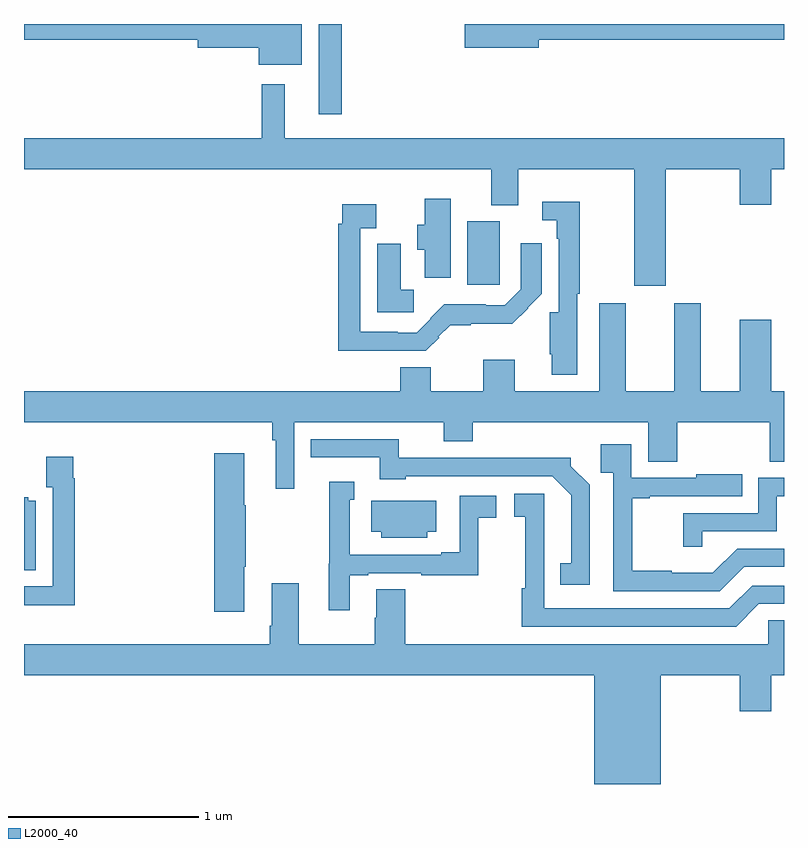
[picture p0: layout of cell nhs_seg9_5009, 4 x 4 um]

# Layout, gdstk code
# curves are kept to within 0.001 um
import gdstk
lib = gdstk.Library(unit=1e-6, precision=1e-09)
def R(c, l, rs):  # rectangles x0, y0, x1, y1
    for r in rs: c.add(gdstk.rectangle(r[:2], r[2:], *l))
def P(c, l, *ps):  # polygons
    for p in ps: c.add(gdstk.Polygon(p, *l))
L2000_40 = (2000, 40)

nhs_seg9_5009 = lib.new_cell('nhs_seg9_5009')
R(nhs_seg9_5009, L2000_40, [(403.334,1213.128,403.504,1213.462), (402.551,1214.025,402.673,1214.5)])
P(nhs_seg9_5009, L2000_40, [(403.708,1214.416),(405,1214.416),(405,1214.5),(403.32,1214.5),(403.32,1214.374),(403.708,1214.374)],
  [(402.463,1214.5),(401,1214.5),(401,1214.416),(401.915,1214.416),(401.915,1214.374),(402.236,1214.374),(402.236,1214.285),(402.463,1214.285)],
  [(404.377,1213.736),(404.768,1213.736),(404.768,1213.548),(404.932,1213.548),(404.932,1213.736),(405,1213.736),(405,1213.9),(402.373,1213.9),(402.373,1214.182),(402.252,1214.182),(402.252,1213.9),(401,1213.9),(401,1213.736),(403.46,1213.736),(403.46,1213.547),(403.6,1213.547),(403.6,1213.736),(404.213,1213.736),(404.213,1213.122),(404.377,1213.122)],
  [(403.246,1213.579),(403.109,1213.579),(403.109,1213.443),(403.07,1213.443),(403.07,1213.313),(403.109,1213.313),(403.109,1213.164),(403.246,1213.164)],
  [(403.912,1213.081),(403.924,1213.081),(403.924,1213.564),(403.728,1213.564),(403.728,1213.467),(403.803,1213.467),(403.803,1213.37),(403.815,1213.37),(403.815,1212.984),(403.766,1212.984),(403.766,1212.763),(403.778,1212.763),(403.778,1212.653),(403.912,1212.653)],
  [(403.185,1212.849),(403.181,1212.853),(403.243,1212.915),(403.351,1212.915),(403.351,1212.923),(403.571,1212.923),(403.726,1213.08),(403.726,1213.345),(403.614,1213.345),(403.614,1213.104),(403.53,1213.02),(403.43,1213.02),(403.43,1213.025),(403.211,1213.025),(403.137,1212.951),(403.14,1212.948),(403.068,1212.876),(402.968,1212.876),(402.968,1212.88),(402.771,1212.88),(402.771,1213.424),(402.854,1213.424),(402.854,1213.552),(402.675,1213.552),(402.675,1213.448),(402.655,1213.448),(402.655,1212.779),(403.115,1212.779)],
  [(403.051,1213.102),(402.982,1213.102),(402.982,1213.343),(402.86,1213.343),(402.86,1212.982),(403.051,1212.982)],
  [(404.438,1212.404),(404.924,1212.404),(404.924,1212.196),(405,1212.196),(405,1212.568),(404.932,1212.568),(404.932,1212.943),(404.768,1212.943),(404.768,1212.568),(404.563,1212.568),(404.563,1213.03),(404.423,1213.03),(404.423,1212.568),(404.167,1212.568),(404.167,1213.03),(404.027,1213.03),(404.027,1212.568),(403.582,1212.568),(403.582,1212.733),(403.418,1212.733),(403.418,1212.568),(403.141,1212.568),(403.141,1212.694),(402.98,1212.694),(402.98,1212.568),(401,1212.568),(401,1212.404),(402.307,1212.404),(402.307,1212.308),(402.326,1212.308),(402.326,1212.054),(402.423,1212.054),(402.423,1212.404),(403.208,1212.404),(403.208,1212.305),(403.361,1212.305),(403.361,1212.404),(404.285,1212.404),(404.285,1212.196),(404.438,1212.196)],
  [(403.977,1212.074),(403.878,1212.173),(403.878,1212.218),(403.444,1212.218),(403.444,1212.216),(402.972,1212.216),(402.972,1212.315),(402.508,1212.315),(402.508,1212.219),(402.872,1212.219),(402.872,1212.104),(403.008,1212.104),(403.008,1212.12),(403.779,1212.12),(403.88,1212.019),(403.88,1211.663),(403.822,1211.663),(403.822,1211.55),(403.977,1211.55)],
  [(404.79,1211.643),(405,1211.643),(405,1211.739),(404.754,1211.739),(404.626,1211.611),(404.408,1211.611),(404.408,1211.623),(404.201,1211.623),(404.201,1212.003),(404.293,1212.003),(404.293,1212.015),(404.78,1212.015),(404.78,1212.13),(404.537,1212.13),(404.537,1212.111),(404.196,1212.111),(404.196,1212.289),(404.035,1212.289),(404.035,1212.137),(404.1,1212.137),(404.1,1211.514),(404.661,1211.514)],
  [(402.16,1211.644),(402.168,1211.644),(402.168,1211.966),(402.16,1211.966),(402.16,1212.241),(402.002,1212.241),(402.002,1211.406),(402.16,1211.406)],
  [(401.267,1212.11),(401.26,1212.11),(401.26,1212.223),(401.117,1212.223),(401.117,1212.062),(401.151,1212.062),(401.151,1211.541),(401,1211.541),(401,1211.441),(401.267,1211.441)],
  [(404.571,1211.829),(404.961,1211.829),(404.961,1212.015),(405,1212.015),(405,1212.111),(404.865,1212.111),(404.865,1211.925),(404.47,1211.925),(404.47,1211.748),(404.571,1211.748)],
  [(402.715,1211.598),(402.811,1211.598),(402.811,1211.61),(403.09,1211.61),(403.09,1211.598),(403.392,1211.598),(403.392,1211.902),(403.486,1211.902),(403.486,1212.018),(403.293,1212.018),(403.293,1211.719),(403.196,1211.719),(403.196,1211.706),(402.714,1211.706),(402.714,1211.997),(402.739,1211.997),(402.739,1212.091),(402.606,1212.091),(402.606,1211.659),(402.605,1211.659),(402.605,1211.415),(402.715,1211.415)],
  [(404.868,1211.448),(405,1211.448),(405,1211.544),(404.832,1211.544),(404.712,1211.424),(403.737,1211.424),(403.738,1212.028),(403.581,1212.028),(403.581,1211.907),(403.639,1211.907),(403.639,1211.531),(403.621,1211.531),(403.621,1211.328),(404.748,1211.328)],
  [(401.062,1211.992),(401.022,1211.992),(401.022,1212.01),(401,1212.01),(401,1211.626),(401.062,1211.626)],
  [(403.123,1211.828),(403.171,1211.828),(403.171,1211.992),(402.827,1211.992),(402.827,1211.828),(402.881,1211.828),(402.881,1211.795),(403.123,1211.795)],
  [(404.35,1211.072),(404.768,1211.072),(404.768,1210.884),(404.932,1210.884),(404.932,1211.072),(405,1211.072),(405,1211.363),(404.916,1211.363),(404.916,1211.236),(403.007,1211.236),(403.007,1211.525),(402.854,1211.525),(402.854,1211.375),(402.847,1211.375),(402.847,1211.236),(402.445,1211.236),(402.445,1211.557),(402.305,1211.557),(402.305,1211.332),(402.293,1211.332),(402.293,1211.236),(401,1211.236),(401,1211.072),(404,1211.072),(404,1210.5),(404.35,1210.5)])

lib.write_gds('nhs_seg9_5009.gds')
